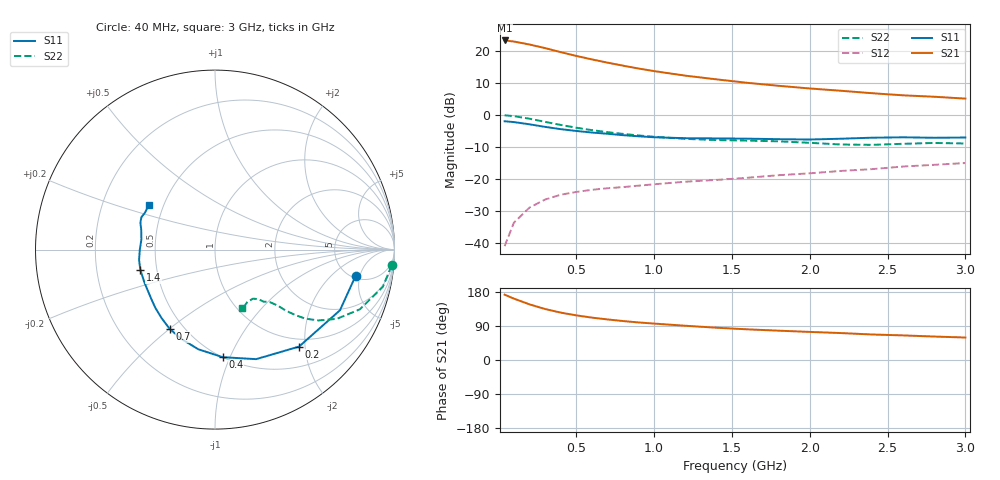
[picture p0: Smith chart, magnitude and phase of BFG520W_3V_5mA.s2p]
! Filename:  BFG520WB.S2P  Version:  4.0
! Philips part #: BFG520  Date: Jun 1994
! Bias condition: Vce=3.0V, Ic=5.0mA
! IN LINE PINNING: same data as with cross emitter pinning.
#  MHz  S  MA  R  50
! Freq  S11  S21  S12  S22  !GUM [dB]
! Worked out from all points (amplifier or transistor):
!   21 points, 40 MHz to 3 GHz, reference 50 ohm
!   highest |S21| = 23.2 dB at 40 MHz (marker M1)
!   |S21| within 3 dB of that: start of sweep to 348.9 MHz
!   unconditionally stable (mu >= 1): 1.487 GHz to end of sweep
!   at 300 MHz: K = 0.27, MSG = 23.6 dB, |S12| = -26.4 dB
!   at 1 GHz: K = 0.80, MSG = 17.6 dB, |S12| = -21.6 dB
!   at 3 GHz: K = 1.15, MAG = 7.7 dB, |S12| = -15.0 dB
!   S11 on the Smith chart (normalised r, x): 40 MHz: 5.33, -4.29; 200 MHz: 0.85, -1.88; 400 MHz: 0.50, -0.94; 700 MHz: 0.42, -0.50; 1.4 GHz: 0.40, -0.11; 3 GHz: 0.41, +0.26
40  0.797 -10.6  14.5 172.4  0.009 84.1  0.988 -5.1
100  0.774 -25.9  13.95 161.9  0.021 77.0  0.958 -12.5
200  0.715 -49.1  12.53 146.8  0.036 67.2  0.873 -22.4
300  0.652 -69.4  11.02 134.5  0.048 59.9  0.781 -29.6
400  0.601 -85.9  9.533 125.1  0.057 55.7  0.699 -34.4
500  0.563 -99.5  8.328 117.8  0.063 52.9  0.633 -37.4
600  0.532 -110.5  7.348 111.9  0.068 51.6  0.58 -39.1
700  0.509 -119.7  6.546 107.1  0.072 51.2  0.539 -40.2
800  0.484 -127.9  5.873 102.8  0.075 51.8  0.507 -41.0
900  0.465 -135.5  5.297 99.1  0.079 52.5  0.479 -41.5
1000  0.449 -142.2  4.828 96.1  0.083 53.5  0.457 -42.2
1200  0.434 -154.8  4.102 90.4  0.091 55.1  0.424 -43.7
1400  0.431 -164.8  3.592 85.2  0.097 57.3  0.406 -45.7
1600  0.427 -172.2  3.167 80.9  0.105 60.3  0.398 -46.9
1800  0.419 -179.9  2.847 77.4  0.115 61.4  0.388 -47.5
2000  0.414 172.1  2.588 74.1  0.123 63.6  0.368 -48.6
2200  0.426 164.8  2.383 71.1  0.134 64.7  0.346 -52.2
2400  0.442 160.1  2.183 67.3  0.143 67.1  0.342 -58.0
2600  0.448 156.3  2.023 64.9  0.157 68.5  0.355 -62.5
2800  0.441 152.1  1.922 61.9  0.167 68.8  0.366 -64.0
3000  0.445 146.1  1.798 59.3  0.178 70.0  0.359 -65.1
